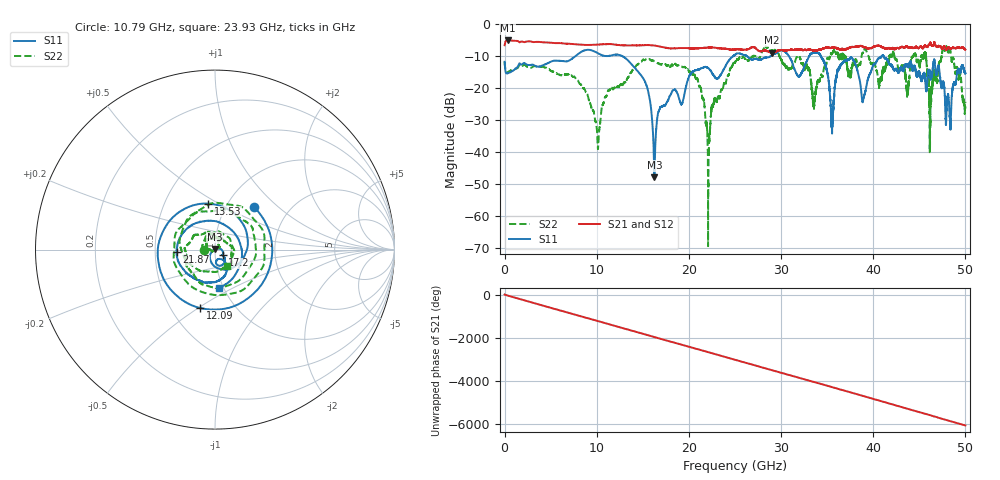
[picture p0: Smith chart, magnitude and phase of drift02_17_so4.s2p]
!Created with skrf (http://scikit-rf.org).
# Hz S RI R 50.0
!freq ReS11 ImS11 ReS21 ImS21 ReS12 ImS12 ReS22 ImS22
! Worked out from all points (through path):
!   10001 points, 300 kHz to 50 GHz, reference 50 ohm
!   highest |S21| = -5.04 dB at 325.3 MHz (marker M1); lowest = -8.9 dB at 29.05 GHz (marker M2)
!   group delay of S21, straight-line fit = 336 ps
!   lowest |S11| = -48.0 dB at 16.25 GHz (marker M3), VSWR 1.01, Z = 49.8 + j0.342 ohm
!   |S11| at or under -10 dB: start of sweep to 7.669 GHz; 12.82 GHz to 24.78 GHz (11.96 GHz wide, 63.6 % of centre); 41.12 GHz to end of sweep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
!   |S22| runs from -69.5 to -6.8 dB; largest |S21 - S12| = 0.033
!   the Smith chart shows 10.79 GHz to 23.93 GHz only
!   S11 on the Smith chart (normalised r, x): 10.79 GHz: 1.34, +0.71; 12.09 GHz: 0.69, -0.51; 13.53 GHz: 0.82, +0.45; 17.2 GHz: 1.09, -0.07; 21.87 GHz: 0.65, -0.02; 23.93 GHz: 0.95, -0.43
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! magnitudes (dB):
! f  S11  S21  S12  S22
! 300 kHz  -11.7  -6.5  -6.5  -11.7
! 325.3 MHz  -15.3  -5.0  -5.0  -15.1
! 8.335 GHz  -8.6  -6.4  -6.4  -19.1
! 10.11 GHz  -9.0  -6.4  -6.3  -38.0
! 10.79 GHz  -9.9  -6.2  -6.2  -23.9
! 12.09 GHz  -9.5  -6.4  -6.4  -20.2
! 13.53 GHz  -11.7  -6.6  -6.6  -16.0
! 16.25 GHz  -48.0  -6.7  -6.6  -11.6
! 16.67 GHz  -27.6  -6.8  -6.8  -12.2
! 17.2 GHz  -25.6  -7.2  -7.2  -12.8
! 20.74 GHz  -14.3  -7.5  -7.5  -16.9
! 21.87 GHz  -13.4  -7.3  -7.3  -30.4
! 23.93 GHz  -13.3  -7.6  -7.6  -18.7
! 25 GHz  -9.6  -7.9  -7.9  -11.9
! 29.05 GHz  -9.6  -8.9  -8.9  -8.1
! 33.34 GHz  -9.1  -8.0  -8.0  -20.2
! 35.54 GHz  -34.2  -7.3  -7.3  -9.1
! 36.79 GHz  -11.7  -7.9  -8.0  -9.7
! 41.67 GHz  -12.0  -7.4  -7.5  -11.9
! 46.25 GHz  -17.4  -6.0  -6.1  -19.8
! 48.12 GHz  -22.6  -7.2  -7.2  -8.8
! 50 GHz  -15.3  -7.9  -7.9  -24.3
